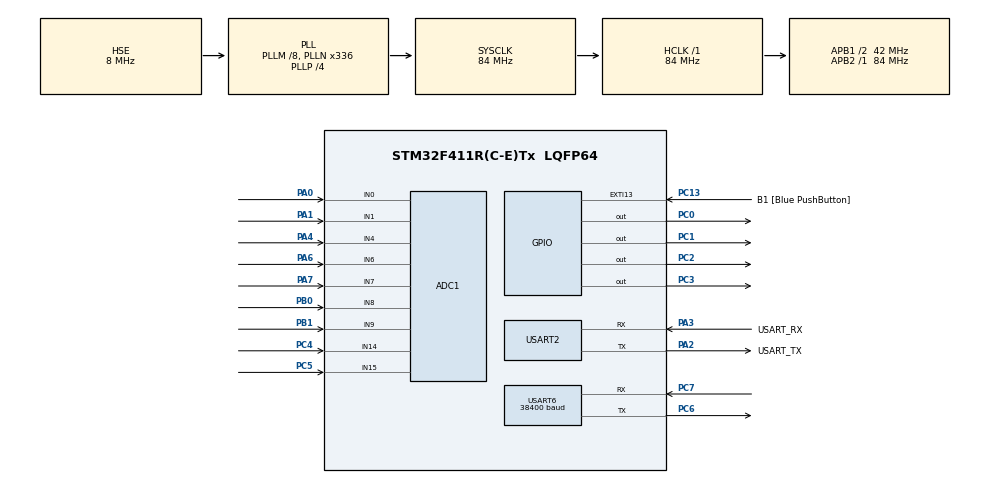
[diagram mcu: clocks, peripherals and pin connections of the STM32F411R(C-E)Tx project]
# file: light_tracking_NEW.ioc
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ADC1.Channel-0\#ChannelRegularConversion=ADC_CHANNEL_0
ADC1.Channel-1\#ChannelRegularConversion=ADC_CHANNEL_1
ADC1.Channel-2\#ChannelRegularConversion=ADC_CHANNEL_4
ADC1.Channel-3\#ChannelRegularConversion=ADC_CHANNEL_6
ADC1.Channel-4\#ChannelRegularConversion=ADC_CHANNEL_7
ADC1.Channel-5\#ChannelRegularConversion=ADC_CHANNEL_8
ADC1.Channel-6\#ChannelRegularConversion=ADC_CHANNEL_9
ADC1.Channel-7\#ChannelRegularConversion=ADC_CHANNEL_14
ADC1.Channel-8\#ChannelRegularConversion=ADC_CHANNEL_15
ADC1.ContinuousConvMode=ENABLE
ADC1.DMAContinuousRequests=ENABLE
ADC1.NbrOfConversion=9
ADC1.NbrOfConversionFlag=1
ADC1.Rank-0\#ChannelRegularConversion=1
ADC1.Rank-1\#ChannelRegularConversion=2
ADC1.Rank-2\#ChannelRegularConversion=3
ADC1.Rank-3\#ChannelRegularConversion=4
ADC1.Rank-4\#ChannelRegularConversion=5
ADC1.Rank-5\#ChannelRegularConversion=6
ADC1.Rank-6\#ChannelRegularConversion=7
ADC1.Rank-7\#ChannelRegularConversion=8
ADC1.Rank-8\#ChannelRegularConversion=9
ADC1.SamplingTime-0\#ChannelRegularConversion=ADC_SAMPLETIME_480CYCLES
ADC1.SamplingTime-1\#ChannelRegularConversion=ADC_SAMPLETIME_480CYCLES
ADC1.SamplingTime-2\#ChannelRegularConversion=ADC_SAMPLETIME_480CYCLES
ADC1.SamplingTime-3\#ChannelRegularConversion=ADC_SAMPLETIME_480CYCLES
ADC1.SamplingTime-4\#ChannelRegularConversion=ADC_SAMPLETIME_480CYCLES
ADC1.SamplingTime-5\#ChannelRegularConversion=ADC_SAMPLETIME_480CYCLES
ADC1.SamplingTime-6\#ChannelRegularConversion=ADC_SAMPLETIME_480CYCLES
ADC1.SamplingTime-7\#ChannelRegularConversion=ADC_SAMPLETIME_480CYCLES
ADC1.SamplingTime-8\#ChannelRegularConversion=ADC_SAMPLETIME_480CYCLES
ADC1.ScanConvMode=ENABLE
ADC1.master=1
Dma.ADC1.0.Direction=DMA_PERIPH_TO_MEMORY
Dma.ADC1.0.FIFOMode=DMA_FIFOMODE_DISABLE
Dma.ADC1.0.Instance=DMA2_Stream0
Dma.ADC1.0.MemDataAlignment=DMA_MDATAALIGN_HALFWORD
Dma.ADC1.0.MemInc=DMA_MINC_ENABLE
Dma.ADC1.0.Mode=DMA_CIRCULAR
Dma.ADC1.0.PeriphDataAlignment=DMA_PDATAALIGN_HALFWORD
Dma.ADC1.0.PeriphInc=DMA_PINC_DISABLE
Dma.ADC1.0.Priority=DMA_PRIORITY_LOW
Dma.Request0=ADC1
Mcu.Family=STM32F4
Mcu.Name=STM32F411R(C-E)Tx
Mcu.Package=LQFP64
NVIC.DMA2_Stream0_IRQn=true\:0\:0\:false\:false\:true\:false\:true\:true
NVIC.PriorityGroup=NVIC_PRIORITYGROUP_0
NVIC.TIM3_IRQn=true\:0\:0\:false\:false\:true\:true\:true\:true
NVIC.TIM4_IRQn=true\:0\:0\:false\:false\:true\:true\:true\:true
NVIC.USART2_IRQn=true\:0\:0\:false\:false\:true\:true\:true\:true
NVIC.USART6_IRQn=true\:0\:0\:false\:false\:true\:true\:true\:true
PA0-WKUP.Signal=ADCx_IN0
PA1.Signal=ADCx_IN1
PA13.GPIO_Label=TMS
PA13.Mode=Serial_Wire
PA13.Signal=SYS_JTMS-SWDIO
PA14.GPIO_Label=TCK
PA14.Mode=Serial_Wire
PA14.Signal=SYS_JTCK-SWCLK
PA2.GPIO_Label=USART_TX
PA2.Mode=Asynchronous
PA2.Signal=USART2_TX
PA3.GPIO_Label=USART_RX
PA3.Mode=Asynchronous
PA3.Signal=USART2_RX
PA4.Signal=ADCx_IN4
PA6.Signal=ADCx_IN6
PA7.Signal=ADCx_IN7
PB0.Signal=ADCx_IN8
PB1.Signal=ADCx_IN9
PB3.GPIO_Label=SWO
PB3.Signal=SYS_JTDO-SWO
PC0.Signal=GPIO_Output
PC1.Signal=GPIO_Output
PC13-ANTI_TAMP.GPIO_Label=B1 [Blue PushButton]
PC13-ANTI_TAMP.GPIO_ModeDefaultEXTI=GPIO_MODE_IT_FALLING
PC13-ANTI_TAMP.Signal=GPXTI13
PC14-OSC32_IN.Mode=LSE-External-Oscillator
PC14-OSC32_IN.Signal=RCC_OSC32_IN
PC15-OSC32_OUT.Mode=LSE-External-Oscillator
PC15-OSC32_OUT.Signal=RCC_OSC32_OUT
PC2.Signal=GPIO_Output
PC3.Signal=GPIO_Output
PC4.Signal=ADCx_IN14
PC5.Signal=ADCx_IN15
PC6.Mode=Asynchronous
PC6.Signal=USART6_TX
PC7.Mode=Asynchronous
PC7.Signal=USART6_RX
PH0\ -\ OSC_IN.Mode=HSE-External-Clock-Source
PH0\ -\ OSC_IN.Signal=RCC_OSC_IN
PH1\ -\ OSC_OUT.Mode=HSE-External-Clock-Source
PH1\ -\ OSC_OUT.Signal=RCC_OSC_OUT
ProjectManager.HeapSize=0x200
ProjectManager.StackSize=0x400
ProjectManager.TargetToolchain=STM32CubeIDE
RCC.48MHZClocksFreq_Value=84000000
RCC.AHBFreq_Value=84000000
RCC.APB1CLKDivider=RCC_HCLK_DIV2
RCC.APB1Freq_Value=42000000
RCC.APB1TimFreq_Value=84000000
RCC.APB2Freq_Value=84000000
RCC.APB2TimFreq_Value=84000000
RCC.CortexFreq_Value=84000000
RCC.FLatency-AdvancedSettings=FLASH_LATENCY_2
RCC.HCLKFreq_Value=84000000
RCC.HSE_VALUE=8000000
RCC.HSI_VALUE=16000000
RCC.PLLM=8
RCC.PLLN=336
RCC.PLLP=RCC_PLLP_DIV4
RCC.PLLSourceVirtual=RCC_PLLSOURCE_HSE
RCC.SYSCLKFreq_VALUE=84000000
RCC.SYSCLKSource=RCC_SYSCLKSOURCE_PLLCLK
RCC.VCOOutputFreq_Value=336000000
SH.ADCx_IN0.0=ADC1_IN0,IN0
SH.ADCx_IN1.0=ADC1_IN1,IN1
SH.ADCx_IN14.0=ADC1_IN14,IN14
SH.ADCx_IN15.0=ADC1_IN15,IN15
SH.ADCx_IN4.0=ADC1_IN4,IN4
SH.ADCx_IN6.0=ADC1_IN6,IN6
SH.ADCx_IN7.0=ADC1_IN7,IN7
SH.ADCx_IN8.0=ADC1_IN8,IN8
SH.ADCx_IN9.0=ADC1_IN9,IN9
TIM3.AutoReloadPreload=TIM_AUTORELOAD_PRELOAD_ENABLE
TIM3.Period=1000-1
TIM3.Prescaler=84-1
TIM4.AutoReloadPreload=TIM_AUTORELOAD_PRELOAD_ENABLE
TIM4.Period=19
TIM4.Prescaler=8399
USART2.VirtualMode=VM_ASYNC
USART6.BaudRate=38400
USART6.VirtualMode=VM_ASYNC
VP_TIM3_VS_ClockSourceINT.Mode=Internal
VP_TIM4_VS_ClockSourceINT.Mode=Internal
board=NUCLEO-F411RE

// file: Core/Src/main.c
/* USER CODE BEGIN Header */
/**
 ******************************************************************************
 * @file           : main.c
 * @brief          : Main program body
 ******************************************************************************
 * @attention
 *
 * Copyright (c) 2024 STMicroelectronics.
 * All rights reserved.
 *
 * This software is licensed under terms that can be found in the LICENSE file
 * in the root directory of this software component.
 * If no LICENSE file comes with this software, it is provided AS-IS.
 *
 ******************************************************************************
 */
/* USER CODE END Header */
#include "main.h"

/* USER CODE BEGIN Includes */
#include <stdio.h>
#include <string.h>
#include <stdlib.h>
#include "esp.h"
/* USER CODE END Includes */

/* USER CODE BEGIN PD */
#ifdef __GNUC__
/* With GCC, small printf (option LD Linker->Libraries->Small printf
   set to 'Yes') calls __io_putchar() */
#define PUTCHAR_PROTOTYPE int __io_putchar(int ch)
#else
#define PUTCHAR_PROTOTYPE int fputc(int ch, FILE *f)
#endif /* __GNUC__ */
#define ARR_CNT 5
#define CMD_SIZE 50

/* USER CODE END PD */

ADC_HandleTypeDef hadc1;
DMA_HandleTypeDef hdma_adc1;

TIM_HandleTypeDef htim3;
TIM_HandleTypeDef htim4;

UART_HandleTypeDef huart2;
UART_HandleTypeDef huart6;

/* USER CODE BEGIN PV */
uint8_t rx2char;
extern cb_data_t cb_data;
extern volatile unsigned char rx2Flag;
extern volatile char rx2Data[50];
volatile int tim3Flag1Sec = 1;
volatile unsigned int tim3Sec;

static volatile uint16_t adc_dma[9];

static const uint8_t hs_seq[8][4] = {
    {1, 0, 0, 0},
    {1, 1, 0, 0},
    {0, 1, 0, 0},
    {0, 1, 1, 0},
    {0, 0, 1, 0},
    {0, 0, 1, 1},
    {0, 0, 0, 1},
    {1, 0, 0, 1}};
static const uint8_t rot_to_sensor[8] = {0, 1, 2, 4, 7, 6, 5, 3};
static const uint8_t sensor_to_rot[8] = {0, 1, 2, 7, 3, 6, 5, 4};

static const char *pos_str[8] = {"TL", "TM", "TR", "ML", "MR", "BL", "BM", "BR"};

static volatile uint32_t last_step_ms = 0;
static volatile uint32_t last_sense_ms = 0;
static volatile uint32_t last_send_ms = 0;
static volatile uint8_t sensor_send_enable = 0;
static volatile uint32_t sensor_send_period_ms = 1000;

static int8_t curr_pos = 0;
static int8_t target_pos = 0;
static int32_t move_steps_left = 0;
static uint8_t seq_idx = 0;

static float solar_v = 0.0f;

static int8_t pos_queue[4];
static uint8_t q_head = 0, q_tail = 0, q_count = 0;

volatile uint8_t save_pos_pending = 0;
/* USER CODE END PV */

void SystemClock_Config(void);
static void MX_GPIO_Init(void);
static void MX_DMA_Init(void);
static void MX_USART2_UART_Init(void);
static void MX_USART6_UART_Init(void);
static void MX_TIM3_Init(void);
static void MX_ADC1_Init(void);
static void MX_TIM4_Init(void);
/* USER CODE BEGIN PFP */
char strBuff[64];
void MX_GPIO_LED_ON(int flag);
void MX_GPIO_LED_OFF(int flag);
void esp_event(char *);
char sendBuf[512] = {0};

static void step_drive(uint8_t a, uint8_t b, uint8_t c, uint8_t d);
static void step_once(int dir);
static void flash_save_pos(uint32_t pos);
static uint32_t flash_load_pos(void);
static void start_move_to(int8_t rot_dest);
static void queue_push_unique(int8_t rot_dest);
static int8_t queue_pop(int *ok);
/* USER CODE END PFP */

/* USER CODE BEGIN 0 */
static void step_drive(uint8_t a, uint8_t b, uint8_t c, uint8_t d)
{
  HAL_GPIO_WritePin(GPIOC, GPIO_PIN_0, a ? GPIO_PIN_SET : GPIO_PIN_RESET);
  HAL_GPIO_WritePin(GPIOC, GPIO_PIN_1, b ? GPIO_PIN_SET : GPIO_PIN_RESET);
  HAL_GPIO_WritePin(GPIOC, GPIO_PIN_2, c ? GPIO_PIN_SET : GPIO_PIN_RESET);
  HAL_GPIO_WritePin(GPIOC, GPIO_PIN_3, d ? GPIO_PIN_SET : GPIO_PIN_RESET);
}

static void step_once(int dir)
{
  if (dir > 0)
  {
    seq_idx = (seq_idx + 1) & 0x07;
  }
  else
  {
    seq_idx = (seq_idx + 7) & 0x07;
  }

  step_drive(hs_seq[seq_idx][0], hs_seq[seq_idx][1],
             hs_seq[seq_idx][2], hs_seq[seq_idx][3]);
}

static void flash_save_pos(uint32_t pos)
{
  if (pos >= 8)
    return;

  uint32_t cur = *(volatile uint32_t *)(0x08060000U);
  uint32_t mg = *(volatile uint32_t *)(0x08060000U + 4);
  if (cur == pos && mg == 0xBEEFCAFEU)
    return;

  HAL_FLASH_Unlock();
  FLASH_EraseInitTypeDef EraseInitStruct = {0};
  uint32_t SectorError = 0;
  EraseInitStruct.TypeErase = FLASH_TYPEERASE_SECTORS;
  EraseInitStruct.VoltageRange = FLASH_VOLTAGE_RANGE_3;
  EraseInitStruct.Sector = FLASH_SECTOR_7;
  EraseInitStruct.NbSectors = 1;
  HAL_FLASHEx_Erase(&EraseInitStruct, &SectorError);

  HAL_FLASH_Program(FLASH_TYPEPROGRAM_WORD, (0x08060000U), pos);
  HAL_FLASH_Program(FLASH_TYPEPROGRAM_WORD, (0x08060000U + 4), 0xBEEFCAFEU);
  HAL_FLASH_Lock();
}

static uint32_t flash_load_pos(void)
{
  uint32_t pos = *(volatile uint32_t *)(0x08060000U);
  uint32_t mg = *(volatile uint32_t *)(0x08060000U + 4);
  if (mg == 0xBEEFCAFEU && pos < 8)
    return pos;
  return 0;
}

static void start_move_to(int8_t rot_dest)
{
  if (rot_dest < 0)
    rot_dest += 8;
  if (rot_dest >= 8)
    rot_dest -= 8;
  target_pos = rot_dest;

  int d = target_pos - curr_pos;
  if (d > 4)
    d -= 8;
  if (d < -4)
    d += 8;

  move_steps_left = (d == 0) ? 0 : (512 * ((d > 0) ? d : -d));
}

static void queue_push_unique(int8_t rot_dest)
{
  if (rot_dest < 0)
    rot_dest += 8;
  if (rot_dest >= 8)
    rot_dest -= 8;

  int8_t last = (q_count ? pos_queue[(q_tail + 3) & 3] : (move_steps_left > 0 ? target_pos : curr_pos));
  if (rot_dest == last)
    return;

  if (q_count < 4)
  {
    pos_queue[q_tail] = rot_dest;
    q_tail = (q_tail + 1) & 3;
    q_count++;
  }
  else
  {
    pos_queue[(q_tail + 3) & 3] = rot_dest;
  }
}

static int8_t queue_pop(int *ok)
{
  if (q_count == 0)
  {
    if (ok)
      *ok = 0;
    return 0;
  }
  int8_t v = pos_queue[q_head];
  q_head = (q_head + 1) & 3;
  q_count--;
  if (ok)
    *ok = 1;
  return v;
}
/* USER CODE END 0 */

int main(void)
{

  /* USER CODE BEGIN 1 */
  int ret = 0;
  /* USER CODE END 1 */

  /* MCU Configuration--------------------------------------------------------*/

  /* Reset of all peripherals, Initializes the Flash interface and the Systick. */
  HAL_Init();

  /* Configure the system clock */
  SystemClock_Config();

  /* Initialize all configured peripherals */
  MX_GPIO_Init();
  MX_DMA_Init();
  MX_USART2_UART_Init();
  MX_USART6_UART_Init();
  MX_TIM3_Init();
  MX_ADC1_Init();
  MX_TIM4_Init();
  /* USER CODE BEGIN 2 */
  if (HAL_ADC_Start_DMA(&hadc1, (uint32_t *)adc_dma, 9) != HAL_OK)
  {
    Error_Handler();
  }

  curr_pos = (int8_t)flash_load_pos();
  target_pos = curr_pos;

  printf("Start main() - wifi\r\n");
  ret |= drv_uart_init();
  ret |= drv_esp_init();
  if (ret != 0)
  {
    printf("Esp response error\r\n");
    Error_Handler();
  }

  AiotClient_Init();
  sensor_send_enable = 1;
  sensor_send_period_ms = 5000;
  last_send_ms = HAL_GetTick() - sensor_send_period_ms;

  if (HAL_TIM_Base_Start_IT(&htim3) != HAL_OK)
  {
    Error_Handler();
  }
  if (HAL_TIM_Base_Start_IT(&htim4) != HAL_OK)
  {
    Error_Handler();
  }
  /* USER CODE END 2 */

  /* Infinite loop */
  /* USER CODE BEGIN WHILE */
  while (1)
  {
    if (strstr((char *)cb_data.buf, "+IPD") && cb_data.buf[cb_data.length - 1] == '\n')
    {
      strcpy(strBuff, strchr((char *)cb_data.buf, '['));
      memset(cb_data.buf, 0x0, sizeof(cb_data.buf));
      cb_data.length = 0;
      esp_event(strBuff);
    }
    if (rx2Flag)
    {
      printf("recv2 : %s\r\n", rx2Data);
      rx2Flag = 0;
    }

    if (tim3Flag1Sec)
    {
      tim3Flag1Sec = 0;
      if (!(tim3Sec % 10))
      {
        if (esp_get_status() != 0)
        {
          printf("server connecting ...\r\n");
          esp_client_conn();
          if (sensor_send_enable)
          {
            last_send_ms = HAL_GetTick() - sensor_send_period_ms;
          }
        }
      }
    }

    uint32_t now = HAL_GetTick();

    if (save_pos_pending)
    {
      save_pos_pending = 0;
      flash_save_pos((uint32_t)curr_pos);
    }

    if ((now - last_sense_ms) >= 500)
    {
      last_sense_ms = now;

      uint16_t maxv = 0;
      int8_t max_idx = 0;

      for (int i = 0; i < 8; i++)
      {
        uint16_t v = adc_dma[i];
        if (v > maxv)
        {
          maxv = v;
          max_idx = i;
        }
      }

      uint16_t raw_s = adc_dma[8];
      solar_v = ((float)raw_s / 4095.0f) * 3.3f * 2.0f;

      char tx[160];
      int n = snprintf(tx, sizeof(tx),
                       "TL:%4.1f TM:%4.1f TR:%4.1f ML:%4.1f MR:%4.1f BL:%4.1f BM:%4.1f BR:%4.1f | Solar=%.3fV | Pos=%s->%s\r\n",
                       (adc_dma[0] * 100.0f) / 4095.0f, (adc_dma[1] * 100.0f) / 4095.0f, (adc_dma[2] * 100.0f) / 4095.0f, (adc_dma[3] * 100.0f) / 4095.0f, (adc_dma[4] * 100.0f) / 4095.0f, (adc_dma[5] * 100.0f) / 4095.0f, (adc_dma[6] * 100.0f) / 4095.0f, (adc_dma[7] * 100.0f) / 4095.0f,
                       solar_v, pos_str[rot_to_sensor[curr_pos]], pos_str[rot_to_sensor[target_pos]]);
      HAL_UART_Transmit(&huart2, (uint8_t *)tx, (uint16_t)n, 50);

      uint8_t cur_sensor_idx = rot_to_sensor[curr_pos];
      int diff = (int)maxv - (int)adc_dma[cur_sensor_idx];

      int8_t desired_rot = curr_pos;
      if (diff >= 300)
      {
        desired_rot = sensor_to_rot[max_idx];
      }

      if (move_steps_left > 0 || q_count > 0)
      {
        if (desired_rot != curr_pos)
          queue_push_unique(desired_rot);
      }
      else
      {
        if (desired_rot != curr_pos)
        {
          start_move_to(desired_rot);
        }
      }
    }

    if (sensor_send_enable)
    {
      uint32_t now2 = HAL_GetTick();
      if ((now2 - last_send_ms) >= sensor_send_period_ms)
      {
        last_send_ms = now2;

        // float 없이 정수 포맷으로 센서값 생성
        uint16_t tl = (uint16_t)((adc_dma[0] * 1000) / 4095);
        uint16_t tm = (uint16_t)((adc_dma[1] * 1000) / 4095);
        uint16_t tr = (uint16_t)((adc_dma[2] * 1000) / 4095);
        uint16_t ml = (uint16_t)((adc_dma[3] * 1000) / 4095);
        uint16_t mr = (uint16_t)((adc_dma[4] * 1000) / 4095);
        uint16_t bl = (uint16_t)((adc_dma[5] * 1000) / 4095);
        uint16_t bm = (uint16_t)((adc_dma[6] * 1000) / 4095);
        uint16_t br = (uint16_t)((adc_dma[7] * 1000) / 4095);
        uint32_t solar_mV = (uint32_t)((adc_dma[8] * 3300UL * 2UL) / 4095UL);

        snprintf(sendBuf, sizeof(sendBuf),
                 "[LT_STM_SQL]SENSOR@Pos@%s"
                 "@TL@%u.%u"
                 "@TM@%u.%u"
                 "@TR@%u.%u"
                 "@ML@%u.%u"
                 "@MR@%u.%u"
                 "@BL@%u.%u"
                 "@BM@%u.%u"
                 "@BR@%u.%u"
                 "@Solar@%lu.%03lu\r\n",
                 pos_str[rot_to_sensor[curr_pos]],
                 tl / 10, tl % 10,
                 tm / 10, tm % 10,
                 tr / 10, tr % 10,
                 ml / 10, ml % 10,
                 mr / 10, mr % 10,
                 bl / 10, bl % 10,
                 bm / 10, bm % 10,
                 br / 10, br % 10,
                 (unsigned long)(solar_mV / 1000UL),
                 (unsigned long)(solar_mV % 1000UL));
        esp_send_data(sendBuf);
      }
    }

    /* USER CODE END WHILE */

  }
}

void SystemClock_Config(void)
{
  RCC_OscInitTypeDef RCC_OscInitStruct = {0};
  RCC_ClkInitTypeDef RCC_ClkInitStruct = {0};

  /** Configure the main internal regulator output voltage
  */
  __HAL_RCC_PWR_CLK_ENABLE();
  __HAL_PWR_VOLTAGESCALING_CONFIG(PWR_REGULATOR_VOLTAGE_SCALE1);

  /** Initializes the RCC Oscillators according to the specified parameters
  * in the RCC_OscInitTypeDef structure.
  */
  RCC_OscInitStruct.OscillatorType = RCC_OSCILLATORTYPE_HSE;
  RCC_OscInitStruct.HSEState = RCC_HSE_BYPASS;
  RCC_OscInitStruct.PLL.PLLState = RCC_PLL_ON;
  RCC_OscInitStruct.PLL.PLLSource = RCC_PLLSOURCE_HSE;
  RCC_OscInitStruct.PLL.PLLM = 8;
  RCC_OscInitStruct.PLL.PLLN = 336;
  RCC_OscInitStruct.PLL.PLLP = RCC_PLLP_DIV4;
  RCC_OscInitStruct.PLL.PLLQ = 4;
  if (HAL_RCC_OscConfig(&RCC_OscInitStruct) != HAL_OK)
  {
    Error_Handler();
  }

  /** Initializes the CPU, AHB and APB buses clocks
  */
  RCC_ClkInitStruct.ClockType = RCC_CLOCKTYPE_HCLK|RCC_CLOCKTYPE_SYSCLK
                              |RCC_CLOCKTYPE_PCLK1|RCC_CLOCKTYPE_PCLK2;
  RCC_ClkInitStruct.SYSCLKSource = RCC_SYSCLKSOURCE_PLLCLK;
  RCC_ClkInitStruct.AHBCLKDivider = RCC_SYSCLK_DIV1;
  RCC_ClkInitStruct.APB1CLKDivider = RCC_HCLK_DIV2;
  RCC_ClkInitStruct.APB2CLKDivider = RCC_HCLK_DIV1;

  if (HAL_RCC_ClockConfig(&RCC_ClkInitStruct, FLASH_LATENCY_2) != HAL_OK)
  {
    Error_Handler();
  }
}

static void MX_ADC1_Init(void)
{

  ADC_ChannelConfTypeDef sConfig = {0};

  /** Configure the global features of the ADC (Clock, Resolution, Data Alignment and number of conversion)
  */
  hadc1.Instance = ADC1;
  hadc1.Init.ClockPrescaler = ADC_CLOCK_SYNC_PCLK_DIV4;
  hadc1.Init.Resolution = ADC_RESOLUTION_12B;
  hadc1.Init.ScanConvMode = ENABLE;
  hadc1.Init.ContinuousConvMode = ENABLE;
  hadc1.Init.DiscontinuousConvMode = DISABLE;
  hadc1.Init.ExternalTrigConvEdge = ADC_EXTERNALTRIGCONVEDGE_NONE;
  hadc1.Init.ExternalTrigConv = ADC_SOFTWARE_START;
  hadc1.Init.DataAlign = ADC_DATAALIGN_RIGHT;
  hadc1.Init.NbrOfConversion = 9;
  hadc1.Init.DMAContinuousRequests = ENABLE;
  hadc1.Init.EOCSelection = ADC_EOC_SINGLE_CONV;
  if (HAL_ADC_Init(&hadc1) != HAL_OK)
  {
    Error_Handler();
  }

  /** Configure for the selected ADC regular channel its corresponding rank in the sequencer and its sample time.
  */
  sConfig.Channel = ADC_CHANNEL_0;
  sConfig.Rank = 1;
  sConfig.SamplingTime = ADC_SAMPLETIME_480CYCLES;
  if (HAL_ADC_ConfigChannel(&hadc1, &sConfig) != HAL_OK)
  {
    Error_Handler();
  }

  /** Configure for the selected ADC regular channel its corresponding rank in the sequencer and its sample time.
  */
  sConfig.Channel = ADC_CHANNEL_1;
  sConfig.Rank = 2;
  if (HAL_ADC_ConfigChannel(&hadc1, &sConfig) != HAL_OK)
  {
    Error_Handler();
  }

  /** Configure for the selected ADC regular channel its corresponding rank in the sequencer and its sample time.
  */
  sConfig.Channel = ADC_CHANNEL_4;
  sConfig.Rank = 3;
  if (HAL_ADC_ConfigChannel(&hadc1, &sConfig) != HAL_OK)
  {
    Error_Handler();
  }

  /** Configure for the selected ADC regular channel its corresponding rank in the sequencer and its sample time.
  */
  sConfig.Channel = ADC_CHANNEL_6;
  sConfig.Rank = 4;
  if (HAL_ADC_ConfigChannel(&hadc1, &sConfig) != HAL_OK)
  {
    Error_Handler();
  }

  /** Configure for the selected ADC regular channel its corresponding rank in the sequencer and its sample time.
  */
  sConfig.Channel = ADC_CHANNEL_7;
  sConfig.Rank = 5;
  if (HAL_ADC_ConfigChannel(&hadc1, &sConfig) != HAL_OK)
  {
    Error_Handler();
  }

  /** Configure for the selected ADC regular channel its corresponding rank in the sequencer and its sample time.
  */
  sConfig.Channel = ADC_CHANNEL_8;
  sConfig.Rank = 6;
  if (HAL_ADC_ConfigChannel(&hadc1, &sConfig) != HAL_OK)
  {
    Error_Handler();
  }

  /** Configure for the selected ADC regular channel its corresponding rank in the sequencer and its sample time.
  */
  sConfig.Channel = ADC_CHANNEL_9;
  sConfig.Rank = 7;
  if (HAL_ADC_ConfigChannel(&hadc1, &sConfig) != HAL_OK)
  {
    Error_Handler();
  }

  /** Configure for the selected ADC regular channel its corresponding rank in the sequencer and its sample time.
  */
  sConfig.Channel = ADC_CHANNEL_14;
  sConfig.Rank = 8;
  if (HAL_ADC_ConfigChannel(&hadc1, &sConfig) != HAL_OK)
  {
    Error_Handler();
  }

  /** Configure for the selected ADC regular channel its corresponding rank in the sequencer and its sample time.
  */
  sConfig.Channel = ADC_CHANNEL_15;
  sConfig.Rank = 9;
  if (HAL_ADC_ConfigChannel(&hadc1, &sConfig) != HAL_OK)
  {
    Error_Handler();
  }

}

static void MX_TIM3_Init(void)
{

  TIM_ClockConfigTypeDef sClockSourceConfig = {0};
  TIM_MasterConfigTypeDef sMasterConfig = {0};

  htim3.Instance = TIM3;
  htim3.Init.Prescaler = 84-1;
  htim3.Init.CounterMode = TIM_COUNTERMODE_UP;
  htim3.Init.Period = 1000-1;
  htim3.Init.ClockDivision = TIM_CLOCKDIVISION_DIV1;
  htim3.Init.AutoReloadPreload = TIM_AUTORELOAD_PRELOAD_ENABLE;
  if (HAL_TIM_Base_Init(&htim3) != HAL_OK)
  {
    Error_Handler();
  }
  sClockSourceConfig.ClockSource = TIM_CLOCKSOURCE_INTERNAL;
  if (HAL_TIM_ConfigClockSource(&htim3, &sClockSourceConfig) != HAL_OK)
  {
    Error_Handler();
  }
  sMasterConfig.MasterOutputTrigger = TIM_TRGO_RESET;
  sMasterConfig.MasterSlaveMode = TIM_MASTERSLAVEMODE_DISABLE;
  if (HAL_TIMEx_MasterConfigSynchronization(&htim3, &sMasterConfig) != HAL_OK)
  {
    Error_Handler();
  }

}

static void MX_TIM4_Init(void)
{

  TIM_ClockConfigTypeDef sClockSourceConfig = {0};
  TIM_MasterConfigTypeDef sMasterConfig = {0};

  htim4.Instance = TIM4;
  htim4.Init.Prescaler = 8399;
  htim4.Init.CounterMode = TIM_COUNTERMODE_UP;
  htim4.Init.Period = 19;
  htim4.Init.ClockDivision = TIM_CLOCKDIVISION_DIV1;
  htim4.Init.AutoReloadPreload = TIM_AUTORELOAD_PRELOAD_ENABLE;
  if (HAL_TIM_Base_Init(&htim4) != HAL_OK)
  {
    Error_Handler();
  }
  sClockSourceConfig.ClockSource = TIM_CLOCKSOURCE_INTERNAL;
  if (HAL_TIM_ConfigClockSource(&htim4, &sClockSourceConfig) != HAL_OK)
  {
    Error_Handler();
  }
  sMasterConfig.MasterOutputTrigger = TIM_TRGO_RESET;
  sMasterConfig.MasterSlaveMode = TIM_MASTERSLAVEMODE_DISABLE;
  if (HAL_TIMEx_MasterConfigSynchronization(&htim4, &sMasterConfig) != HAL_OK)
  {
    Error_Handler();
  }

}

static void MX_USART2_UART_Init(void)
{

  huart2.Instance = USART2;
  huart2.Init.BaudRate = 115200;
  huart2.Init.WordLength = UART_WORDLENGTH_8B;
  huart2.Init.StopBits = UART_STOPBITS_1;
  huart2.Init.Parity = UART_PARITY_NONE;
  huart2.Init.Mode = UART_MODE_TX_RX;
  huart2.Init.HwFlowCtl = UART_HWCONTROL_NONE;
  huart2.Init.OverSampling = UART_OVERSAMPLING_16;
  if (HAL_UART_Init(&huart2) != HAL_OK)
  {
    Error_Handler();
  }

}

static void MX_USART6_UART_Init(void)
{

  huart6.Instance = USART6;
  huart6.Init.BaudRate = 38400;
  huart6.Init.WordLength = UART_WORDLENGTH_8B;
  huart6.Init.StopBits = UART_STOPBITS_1;
  huart6.Init.Parity = UART_PARITY_NONE;
  huart6.Init.Mode = UART_MODE_TX_RX;
  huart6.Init.HwFlowCtl = UART_HWCONTROL_NONE;
  huart6.Init.OverSampling = UART_OVERSAMPLING_16;
  if (HAL_UART_Init(&huart6) != HAL_OK)
  {
    Error_Handler();
  }

}

static void MX_DMA_Init(void)
{

  /* DMA controller clock enable */
  __HAL_RCC_DMA2_CLK_ENABLE();

  /* DMA interrupt init */
  /* DMA2_Stream0_IRQn interrupt configuration */
  HAL_NVIC_SetPriority(DMA2_Stream0_IRQn, 0, 0);
  HAL_NVIC_EnableIRQ(DMA2_Stream0_IRQn);

}

static void MX_GPIO_Init(void)
{
  GPIO_InitTypeDef GPIO_InitStruct = {0};

  /* GPIO Ports Clock Enable */
  __HAL_RCC_GPIOC_CLK_ENABLE();
  __HAL_RCC_GPIOH_CLK_ENABLE();
  __HAL_RCC_GPIOA_CLK_ENABLE();
  __HAL_RCC_GPIOB_CLK_ENABLE();

  /*Configure GPIO pin Output Level */
  HAL_GPIO_WritePin(GPIOC, GPIO_PIN_0|GPIO_PIN_1|GPIO_PIN_2|GPIO_PIN_3, GPIO_PIN_RESET);

  /*Configure GPIO pin : B1_Pin */
  GPIO_InitStruct.Pin = B1_Pin;
  GPIO_InitStruct.Mode = GPIO_MODE_IT_FALLING;
  GPIO_InitStruct.Pull = GPIO_NOPULL;
  HAL_GPIO_Init(B1_GPIO_Port, &GPIO_InitStruct);

  /*Configure GPIO pins : PC0 PC1 PC2 PC3 */
  GPIO_InitStruct.Pin = GPIO_PIN_0|GPIO_PIN_1|GPIO_PIN_2|GPIO_PIN_3;
  GPIO_InitStruct.Mode = GPIO_MODE_OUTPUT_PP;
  GPIO_InitStruct.Pull = GPIO_NOPULL;
  GPIO_InitStruct.Speed = GPIO_SPEED_FREQ_LOW;
  HAL_GPIO_Init(GPIOC, &GPIO_InitStruct);

}

/* USER CODE BEGIN 4 */
void esp_event(char *recvBuf)
{
  int i = 0;
  char *pToken;
  char *pArray[ARR_CNT] = {0};

  strBuff[strlen(recvBuf) - 1] = '\0'; //'\n' cut
  printf("Debug recv : %s\r\n", recvBuf);

  pToken = strtok(recvBuf, "[@]");
  while (pToken != NULL)
  {
    pArray[i] = pToken;
    if (++i >= ARR_CNT)
      break;
    pToken = strtok(NULL, "[@]");
  }

  if (!strcmp(pArray[1], "GETSENSOR"))
  {
    int sec = 0;
    if (pArray[2] && *pArray[2])
      sec = atoi(pArray[2]);
    if (sec <= 0)
    {
      sensor_send_enable = 0;
      sprintf(sendBuf, "[%s]ACK@0\n", pArray[0]);
    }
    else
    {
      sensor_send_enable = 1;
      sensor_send_period_ms = (uint32_t)sec * 1000UL;
      last_send_ms = HAL_GetTick() - sensor_send_period_ms;
      sprintf(sendBuf, "[%s]ACK@%d\n", pArray[0], sec);
    }
    esp_send_data(sendBuf);
    return;
  }
  else if (!strncmp(pArray[1], " New conn", 8))
  {
    return;
  }
  else if (!strncmp(pArray[1], " Already log", 8))
  {
    return;
  }
  else
    return;

  esp_send_data(sendBuf);
  printf("Debug send : %s\r\n", sendBuf);
}
void HAL_TIM_PeriodElapsedCallback(TIM_HandleTypeDef *htim)
{
  static int tim3Cnt = 0;

  if (htim->Instance == TIM3)
  {
    tim3Cnt++;
    if (tim3Cnt >= 1000) // 1ms * 1000 = 1Sec
    {
      tim3Flag1Sec = 1;
      tim3Sec++;
      tim3Cnt = 0;
    }
    return;
  }

  if (htim->Instance == TIM4)
  {
    if (move_steps_left > 0)
    {
      int dir = (target_pos - curr_pos);
      if (dir > 4)
        dir -= 8;
      if (dir < -4)
        dir += 8;

      int step_dir = (dir >= 0) ? -1 : +1;
      step_once(step_dir);
      move_steps_left--;

      if (move_steps_left == 0)
      {
        curr_pos = target_pos;
        step_drive(0, 0, 0, 0);

        save_pos_pending = 1;

        int ok = 0;
        int8_t next = queue_pop(&ok);
        if (ok)
        {
          start_move_to(next);
        }
      }
    }
    return;
  }
}
/* USER CODE END 4 */

void Error_Handler(void)
{
  __disable_irq();
  while (1)
  {
  }
}
